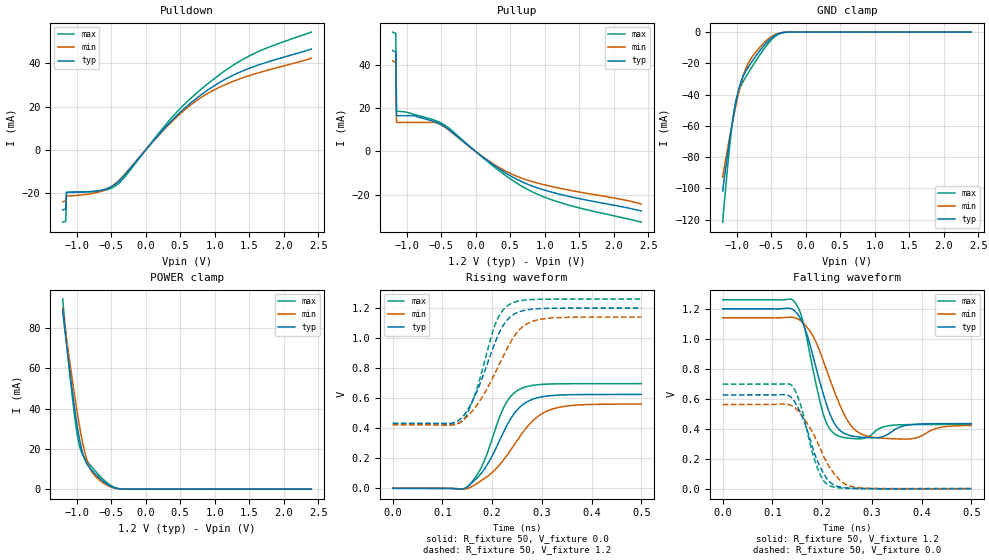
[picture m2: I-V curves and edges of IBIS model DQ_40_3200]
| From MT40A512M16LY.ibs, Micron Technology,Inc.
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| MODEL DQ_40_3200 (40 Ohm Data I/O with no ODT, 1600-3200Mbps)
[Model]   DQ_40_3200
Model_type   I/O
Vinl = 905.000mV
Vinh = 1015.000mV
Vmeas = 960.000mV
Vref = 1200.000mV
Cref = 0.0pF
Rref = 50.000Ohm
|   typ   min   max
|C_comp   0.780pF   0.730pF   0.830pF
C_comp_pullup   0.390pF   0.365pF   0.415pF
C_comp_pulldown   0.390pF   0.365pF   0.415pF
[Model Spec]
| Timing spec test load voltage corners
Vref   1.2000V   1.1400V   1.2600V
| Dynamic Overshoot Parameters from DDR4 Specification
|D_overshoot_ampl_h   0.40   NA   NA
|D_overshoot_ampl_l   0.40   NA   NA
|D_overshoot_area_h   0.0800n   NA   NA
|D_overshoot_area_l   0.0800n   NA   NA
[Voltage Range]   1.2000V   1.1400V   1.2600V
| Junction Temperature (Ambient temp is 35C typ, 95C min, 0C max)
[Temperature Range]   50.0   110.0   0.0
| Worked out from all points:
|   slope of the pulldown table from 0 to 0.18 V, typ, clamps not added: 27 ohm
|   slope of the pullup table from 0 to 0.18 V, typ, clamps not added: 41 ohm
|   GND clamp passes 1 mA (typ) near -0.39 V on its own axis
|   POWER clamp passes 1 mA (typ) near -0.48 V on its own axis
|   rising waveform, R_fixture 50, V_fixture 0.0: 20-80 % time 61.1ps typ, 79.3ps min, 48ps max; typ from 0 V to 0.625 V
|   rising waveform, R_fixture 50, V_fixture 1.2: 20-80 % time 54.7ps typ, 69.3ps min, 44.2ps max; typ from 0.434 V to 1.2 V
|   falling waveform, R_fixture 50, V_fixture 1.2: 20-80 % time 38.6ps typ, 49.7ps min, 31.4ps max; typ from 1.2 V to 0.434 V
|   falling waveform, R_fixture 50, V_fixture 0.0: 20-80 % time 41.8ps typ, 54ps min, 33.5ps max; typ from 0.625 V to 0 V
[Pulldown]
|   Voltage   I(typ)   I(min)   I(max)
-1.2V     -27.55mA   -23.81mA   -33.22mA
-1.156V   -27.16mA   -23.4mA    -32.8mA
-1.145V   -19.52mA   -21.17mA   -19.42mA
-687.3mV  -18.73mA   -19.4mA    -19mA
-545.5mV  -17.56mA   -17.71mA   -18.17mA
-414.5mV  -15.09mA   -14.82mA   -16.02mA
-305.5mV  -11.61mA   -11.26mA   -12.53mA
480mV     16.76mA    16.08mA    18.42mA
774.5mV   24.71mA    23.53mA    27.19mA
1.058V    30.86mA    28.74mA    34.4mA
1.625V    39.07mA    35.48mA    45.23mA
2.4V      46.45mA    42.25mA    54.32mA
[GND_clamp]
|   Voltage   I(typ)   I(min)   I(max)
-1.2V     -101.7mA   -92.86mA   -121.7mA
-1.135V   -79.96mA   -75.85mA   -88.92mA
-1.08V    -63.49mA   -62.76mA   -65.41mA
-1.036V   -51.56mA   -52.84mA   -50.65mA
-992.7mV  -41.38mA   -43.58mA   -41.02mA
-927.3mV  -30.76mA   -31.6mA    -33.57mA
-872.7mV  -25.55mA   -24.13mA   -29.29mA
-818.2mV  -21.61mA   -19.01mA   -25.29mA
-621.8mV  -9.659mA   -7.799mA   -11.96mA
-436.4mV  -1.919mA   -1.478mA   -2.611mA
-229.1mV  -17.2uA    -19.75uA   -20.83uA
2.4V      0A         0A         0A
[Pullup]
|   Voltage   I(typ)   I(min)   I(max)
-1.2V     46.58mA    41.86mA    55.08mA
-1.156V   46.03mA    41.25mA    54.5mA
-1.145V   16.48mA    13.4mA     18.54mA
-883.6mV  16.45mA    13.4mA     17.01mA
-567.3mV  13.38mA    13.3mA     14.07mA
-392.7mV  10.21mA    9.959mA    10.9mA
0V        727.4nA    681.7nA    814.1nA
316.4mV   -7.487mA   -6.918mA   -8.291mA
610.9mV   -13.1mA    -11.65mA   -14.92mA
883.6mV   -16.7mA    -14.5mA    -19.57mA
1.429V    -21.3mA    -18.31mA   -25.46mA
2.4V      -27.51mA   -24.29mA   -32.66mA
[Power Clamp]
|   Voltage   I(typ)   I(min)   I(max)
-1.2V     88.83mA    89.6mA     94.34mA
-1.135V   68.72mA    72.21mA    70.04mA
-1.058V   47.72mA    53.58mA    44.98mA
-1.004V   34.46mA    41.14mA    30.26mA
-960mV    25.46mA    31.98mA    21.99mA
-894.5mV  16.03mA    20.41mA    16.05mA
-807.3mV  10.5mA     10.53mA    12.15mA
-709.1mV  6.909mA    5.768mA    8.277mA
-545.5mV  2.223mA    1.735mA    2.842mA
-436.4mV  532.8uA    427.3uA    716.1uA
-294.5mV  16.22uA    18.62uA    20.69uA
2.4V      0A         0A         0A
[Ramp]
|   typ   min   max
dV/dt_r   375.12m/61.12p   336.65m/79.27p   418.24m/48.04p
dV/dt_f   459.72m/38.58p   431.14m/49.64p   499.21m/31.46p
R_load = 50
[Rising Waveform]
R_fixture = 50
V_fixture = 0.0
|   Time   V(typ)   V(min)   V(max)
0s        2.479uV    7.011uV    1.422uV
149ps     8.224mV    -2.065mV   5.284mV
180ps     107.8mV    55.29mV    152mV
199ps     209.2mV    102.4mV    318.9mV
227ps     401.7mV    206.8mV    562.3mV
242ps     487.1mV    278.8mV    628.2mV
260ps     553.1mV    365mV      666.7mV
293ps     604.5mV    481.1mV    690.2mV
329ps     619.9mV    535.2mV    695.6mV
500ps     625.2mV    561.1mV    697.1mV
[Rising Waveform]
R_fixture   = 50
V_fixture   = 1.2
V_fixture_min = 1.14
V_fixture_max = 1.26
|   Time   V(typ)   V(min)   V(max)
0s        433.8mV    422.3mV    428mV
116ps     432.6mV    419.9mV    426.6mV
141ps     477.8mV    452.3mV    451.6mV
167ps     628.2mV    543.3mV    639.1mV
207ps     979.9mV    774.3mV    1.099V
221ps     1.079V     870.8mV    1.184V
238ps     1.145V     979mV      1.23V
265ps     1.185V     1.085V     1.253V
299ps     1.197V     1.127V     1.259V
500ps     1.2V       1.14V      1.26V
[Falling Waveform]
R_fixture   = 50
V_fixture   = 1.2
V_fixture_min = 1.14
V_fixture_max = 1.26
|   Time   V(typ)   V(min)   V(max)
0s        1.2V       1.14V      1.26V
143ps     1.19V      1.142V     1.252V
162ps     1.097V     1.105V     1.11V
184ps     853.5mV    1.003V     754.3mV
204ps     613mV      836.9mV    479.2mV
230ps     408.9mV    602.8mV    355.4mV
259ps     351.8mV    416.4mV    334.8mV
296ps     339.4mV    346mV      352.2mV
339ps     377.5mV    333.1mV    422mV
500ps     433.8mV    421.4mV    428mV
[Falling Waveform]
R_fixture = 50
V_fixture = 0.0
|   Time   V(typ)   V(min)   V(max)
0s        625.2mV    561.3mV    697.1mV
139ps     604.5mV    553mV      688.2mV
158ps     494.6mV    492.9mV    545.1mV
178ps     302mV      392mV      268.6mV
191ps     180.2mV    305mV      132.9mV
203ps     100.5mV    215mV      52.5mV
216ps     42.24mV    137.2mV    17.73mV
241ps     7.526mV    41.6mV     2.746mV
267ps     1.568mV    8.69mV     600.5uV
500ps     7.719uV    -192.2uV   6.892uV
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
